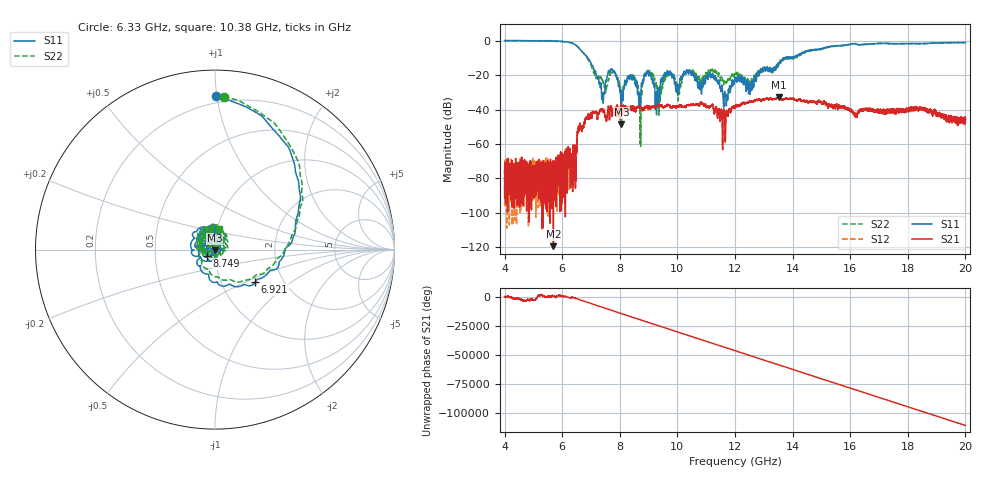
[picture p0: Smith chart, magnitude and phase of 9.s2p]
[Version] 2.0
! Rohde & Schwarz Vector Network Analyzer
! Rohde-Schwarz,ZNL20-2Port,1323001220200009,1.71.1.10-23.02.1.238
! Port Assignments:
! Nominal Port -> Actual Test Port
!  1 -> 1
!  2 -> 2
! Created: GMT+2 2025-01-17 12:09:31
# Hz S RI R 50
[Number of Ports] 2
[Two-Port Data Order] 21_12
! freq[Hz]  S11[Re]  S11[Im]  S21[Re]  S21[Im]  S12[Re]  S12[Im]  S22[Re]  S22[Im]
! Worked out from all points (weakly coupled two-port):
!   16001 points, 4 GHz to 20 GHz, reference 50 ohm
!   highest |S21| = -32.99 dB at 13.52 GHz (marker M1); lowest = -119.3 dB at 5.695 GHz (marker M2)
!   lowest |S11| = -48.5 dB at 8.057 GHz (marker M3), VSWR 1.01, Z = 49.8 - j0.328 ohm
!   |S11| at or under -10 dB: 6.887 GHz to 13.7 GHz (6.814 GHz wide, 66.2 % of centre); 13.71207 GHz to 13.74178 GHz (29.71 MHz wide, 0.216 % of centre); 13.9422 GHz to 13.96587 GHz (23.67 MHz wide, 0.17 % of centre) (the widest 3 of 9)
!   |S22| runs from -61.4 to 0.0 dB; largest |S21 - S12| = 0.0024
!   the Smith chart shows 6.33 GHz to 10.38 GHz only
!   S11 on the Smith chart (normalised r, x): 6.33 GHz: 0.16, +1.00; 6.921 GHz: 1.45, -0.57; 8.749 GHz: 0.91, -0.06; 10.38 GHz: 1.00, +0.22
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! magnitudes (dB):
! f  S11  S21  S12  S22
! 4 GHz  0.0  -76.9  -86.8  -0.2
! 5.695 GHz  -0.1  -119.3  -79.4  -0.3
! 6.33 GHz  -1.3  -78.5  -75.1  -1.4
! 6.667 GHz  -5.9  -50.5  -50.2  -6.0
! 6.921 GHz  -10.8  -43.6  -43.4  -11.6
! 7.402 GHz  -30.6  -39.6  -39.8  -22.4
! 7.721 GHz  -16.8  -41.7  -41.7  -18.8
! 8.057 GHz  -48.5  -37.6  -37.4  -30.9
! 8.425 GHz  -22.7  -40.1  -40.1  -21.6
! 8.749 GHz  -24.9  -38.9  -38.9  -29.0
! 9 GHz  -20.1  -38.4  -38.3  -18.7
! 9.334 GHz  -27.9  -38.0  -37.9  -30.7
! 9.585 GHz  -20.5  -37.9  -37.9  -21.7
! 10.05 GHz  -25.8  -38.3  -38.2  -28.1
! 10.38 GHz  -19.4  -37.5  -37.5  -18.5
! 11.29 GHz  -22.7  -42.1  -42.5  -18.2
! 11.67 GHz  -32.2  -55.3  -53.8  -22.9
! 12 GHz  -21.3  -39.2  -39.2  -19.1
! 13.52 GHz  -13.3  -33.0  -33.2  -13.6
! 14.67 GHz  -5.4  -35.4  -35.2  -5.9
! 17.33 GHz  -1.7  -41.7  -41.1  -1.8
! 20 GHz  -1.2  -46.0  -47.2  -1.2
